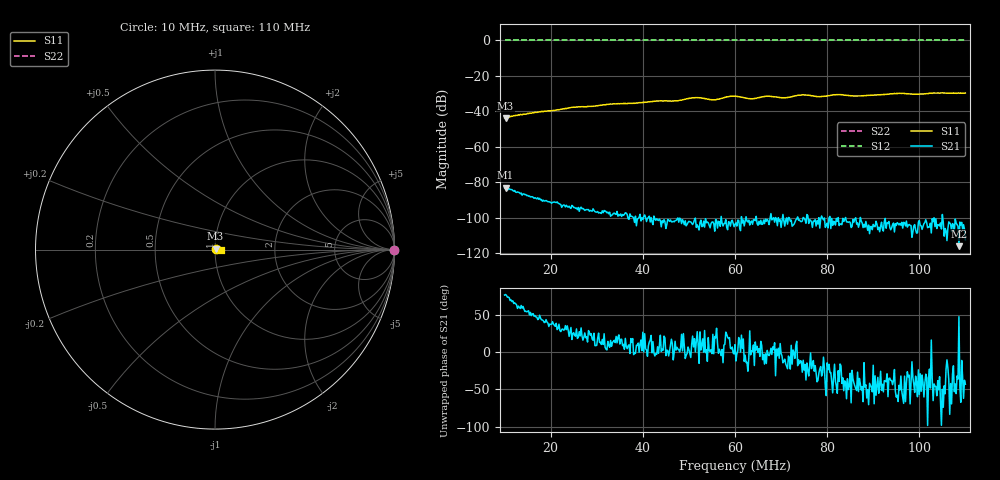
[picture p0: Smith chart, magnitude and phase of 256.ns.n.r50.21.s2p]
! Anritsu VNA Master:  Model: MS2036C/10/77
! SN:  1601066
! /card0/usr/256.ns.n.r50.21.s2p
! Existing Calibration Information:
! TYPE:  Current Settings,  Active Cal Settings
! TIME:  12/19/2017 04:14:35 PM,  12/19/2017 03:58:02 PM
! INTERNAL TEMP:  46.5 C,  47.0 C
! # POINTS:  501,  501
! START FREQ:  10.000 MHz,  10.000 MHz
! STOP FREQ:  110.000 MHz,  110.000 MHz
! SOURCE POWER:  High,  High
! IFBW:  100 Hz,  100 Hz
! AVG FACTOR:  1 ,  1
! REF PLANE 1:  0 mm,  0 mm
! REF PLANE 2:  0 mm,  0 mm
! CAL TYPE:  Full S11,  Full S11
! CAL METHOD:  SOLT,  SOLT
! CAL LINE TYPE:  Coax,  Coax
! DUT PORT 1:  N-Conn(F),  N-Conn(F)
! DUT PORT 2:  K-Conn(F),  K-Conn(F)
! CAL STATUS:  OK: Accuracy High,  --
# GHZ S DB R 50.0
! FREQ.GHZ  S11DB  S11A  S21DB  S21A  S12DB  S12A  S22DB  S22A
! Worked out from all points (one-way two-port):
!   501 points, 10 MHz to 110 MHz, reference 50 ohm
!   highest |S21| = -83.11 dB at 10.2 MHz (marker M1); lowest = -116.2 dB at 108.6 MHz (marker M2)
!   lowest |S11| = -44.0 dB at 10.2 MHz (marker M3), VSWR 1.01, Z = 50.3 + j0.536 ohm
!   |S11| at or under -10 dB: start of sweep to end of sweep
!   |S22| runs from 0.0 to 0.0 dB; largest |S21 - S12| = 1
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0.01  -43.71 58.0  -83.35 76.6  0.00 0.0  0.00 0.0
0.0102  -43.99 57.5  -83.11 77.2  0.00 0.0  0.00 0.0
0.0164  -40.66 55.4  -89.13 48.1  0.00 0.0  0.00 0.0
0.0244  -37.84 50.7  -94.84 33.1  0.00 0.0  0.00 0.0
0.0268  -37.38 51.6  -95.04 21.5  0.00 0.0  0.00 0.0
0.0434  -34.20 41.5  -101.65 -1.6  0.00 0.0  0.00 0.0
0.0472  -34.14 37.2  -101.62 2.6  0.00 0.0  0.00 0.0
0.0516  -32.27 38.4  -105.56 13.8  0.00 0.0  0.00 0.0
0.0556  -33.52 35.0  -107.68 20.9  0.00 0.0  0.00 0.0
0.0586  -31.69 31.1  -102.31 18.1  0.00 0.0  0.00 0.0
0.06  -31.46 35.7  -103.84 10.0  0.00 0.0  0.00 0.0
0.0634  -32.90 33.2  -102.52 -3.6  0.00 0.0  0.00 0.0
0.0668  -31.48 27.9  -102.09 -15.3  0.00 0.0  0.00 0.0
0.0706  -32.46 26.1  -101.91 -12.2  0.00 0.0  0.00 0.0
0.0742  -30.89 21.5  -102.17 -11.5  0.00 0.0  0.00 0.0
0.0768  -31.25 25.2  -105.56 -16.1  0.00 0.0  0.00 0.0
0.0788  -31.63 20.2  -99.11 -32.1  0.00 0.0  0.00 0.0
0.0824  -30.61 18.1  -100.00 -25.0  0.00 0.0  0.00 0.0
0.087  -31.41 14.0  -103.75 -35.3  0.00 0.0  0.00 0.0
0.0934  -30.29 6.3  -102.19 -35.3  0.00 0.0  0.00 0.0
0.1086  -29.64 0.4  -116.16 47.5  0.00 0.0  0.00 0.0
0.11  -29.68 -0.2  -112.60 -43.1  0.00 0.0  0.00 0.0
